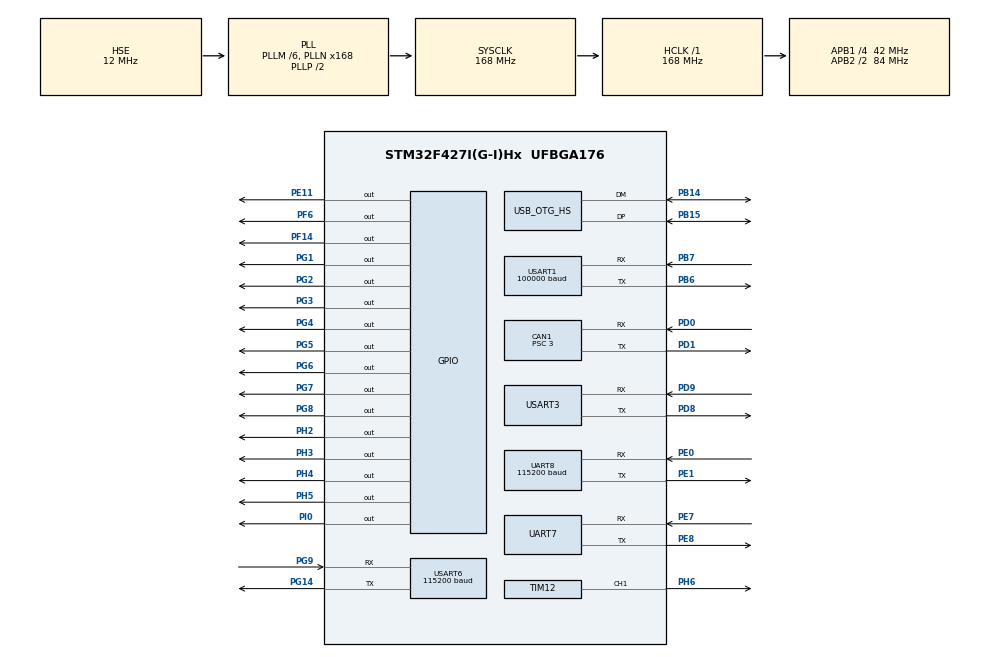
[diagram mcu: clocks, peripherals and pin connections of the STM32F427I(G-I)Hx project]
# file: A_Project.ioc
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CAN1.BS1=CAN_BS1_9TQ
CAN1.BS2=CAN_BS2_4TQ
CAN1.CalculateBaudRate=1000000
CAN1.CalculateTimeBit=1000
CAN1.CalculateTimeQuantum=71.42857142857143
CAN1.Mode=CAN_MODE_NORMAL
CAN1.Prescaler=3
CAN1.SJW=CAN_SJW_2TQ
Dma.Request0=USART1_RX
Dma.Request1=UART8_RX
Dma.Request2=UART8_TX
Dma.Request3=UART7_RX
Dma.Request4=USART6_RX
Dma.Request5=USART6_TX
Dma.UART7_RX.3.Direction=DMA_PERIPH_TO_MEMORY
Dma.UART7_RX.3.FIFOMode=DMA_FIFOMODE_DISABLE
Dma.UART7_RX.3.Instance=DMA1_Stream3
Dma.UART7_RX.3.MemDataAlignment=DMA_MDATAALIGN_BYTE
Dma.UART7_RX.3.MemInc=DMA_MINC_ENABLE
Dma.UART7_RX.3.Mode=DMA_CIRCULAR
Dma.UART7_RX.3.PeriphDataAlignment=DMA_PDATAALIGN_BYTE
Dma.UART7_RX.3.PeriphInc=DMA_PINC_DISABLE
Dma.UART7_RX.3.Priority=DMA_PRIORITY_LOW
Dma.UART8_RX.1.Direction=DMA_PERIPH_TO_MEMORY
Dma.UART8_RX.1.FIFOMode=DMA_FIFOMODE_DISABLE
Dma.UART8_RX.1.Instance=DMA1_Stream6
Dma.UART8_RX.1.MemDataAlignment=DMA_MDATAALIGN_BYTE
Dma.UART8_RX.1.MemInc=DMA_MINC_ENABLE
Dma.UART8_RX.1.Mode=DMA_CIRCULAR
Dma.UART8_RX.1.PeriphDataAlignment=DMA_PDATAALIGN_BYTE
Dma.UART8_RX.1.PeriphInc=DMA_PINC_DISABLE
Dma.UART8_RX.1.Priority=DMA_PRIORITY_LOW
Dma.UART8_TX.2.Direction=DMA_MEMORY_TO_PERIPH
Dma.UART8_TX.2.FIFOMode=DMA_FIFOMODE_DISABLE
Dma.UART8_TX.2.Instance=DMA1_Stream0
Dma.UART8_TX.2.MemDataAlignment=DMA_MDATAALIGN_BYTE
Dma.UART8_TX.2.MemInc=DMA_MINC_ENABLE
Dma.UART8_TX.2.Mode=DMA_NORMAL
Dma.UART8_TX.2.PeriphDataAlignment=DMA_PDATAALIGN_BYTE
Dma.UART8_TX.2.PeriphInc=DMA_PINC_DISABLE
Dma.UART8_TX.2.Priority=DMA_PRIORITY_LOW
Dma.USART1_RX.0.Direction=DMA_PERIPH_TO_MEMORY
Dma.USART1_RX.0.FIFOMode=DMA_FIFOMODE_DISABLE
Dma.USART1_RX.0.Instance=DMA2_Stream2
Dma.USART1_RX.0.MemDataAlignment=DMA_MDATAALIGN_BYTE
Dma.USART1_RX.0.MemInc=DMA_MINC_ENABLE
Dma.USART1_RX.0.Mode=DMA_NORMAL
Dma.USART1_RX.0.PeriphDataAlignment=DMA_PDATAALIGN_BYTE
Dma.USART1_RX.0.PeriphInc=DMA_PINC_DISABLE
Dma.USART1_RX.0.Priority=DMA_PRIORITY_VERY_HIGH
Dma.USART6_RX.4.Direction=DMA_PERIPH_TO_MEMORY
Dma.USART6_RX.4.FIFOMode=DMA_FIFOMODE_DISABLE
Dma.USART6_RX.4.Instance=DMA2_Stream1
Dma.USART6_RX.4.MemDataAlignment=DMA_MDATAALIGN_BYTE
Dma.USART6_RX.4.MemInc=DMA_MINC_ENABLE
Dma.USART6_RX.4.Mode=DMA_CIRCULAR
Dma.USART6_RX.4.PeriphDataAlignment=DMA_PDATAALIGN_BYTE
Dma.USART6_RX.4.PeriphInc=DMA_PINC_DISABLE
Dma.USART6_RX.4.Priority=DMA_PRIORITY_LOW
Dma.USART6_TX.5.Direction=DMA_MEMORY_TO_PERIPH
Dma.USART6_TX.5.FIFOMode=DMA_FIFOMODE_DISABLE
Dma.USART6_TX.5.Instance=DMA2_Stream6
Dma.USART6_TX.5.MemDataAlignment=DMA_MDATAALIGN_BYTE
Dma.USART6_TX.5.MemInc=DMA_MINC_ENABLE
Dma.USART6_TX.5.Mode=DMA_NORMAL
Dma.USART6_TX.5.PeriphDataAlignment=DMA_PDATAALIGN_BYTE
Dma.USART6_TX.5.PeriphInc=DMA_PINC_DISABLE
Dma.USART6_TX.5.Priority=DMA_PRIORITY_LOW
Mcu.Family=STM32F4
Mcu.Name=STM32F427I(G-I)Hx
Mcu.Package=UFBGA176
NVIC.CAN1_RX0_IRQn=true\:0\:0\:false\:false\:true\:true\:true\:true
NVIC.CAN1_RX1_IRQn=true\:0\:0\:false\:false\:true\:true\:true\:true
NVIC.DMA1_Stream0_IRQn=true\:0\:0\:false\:false\:true\:false\:true\:true
NVIC.DMA1_Stream3_IRQn=true\:0\:0\:false\:false\:true\:false\:true\:true
NVIC.DMA1_Stream6_IRQn=true\:0\:0\:false\:false\:true\:false\:true\:true
NVIC.DMA2_Stream1_IRQn=true\:0\:0\:false\:false\:true\:false\:true\:true
NVIC.DMA2_Stream2_IRQn=true\:0\:0\:false\:false\:true\:false\:true\:true
NVIC.DMA2_Stream6_IRQn=true\:0\:0\:false\:false\:true\:false\:true\:true
NVIC.OTG_HS_IRQn=true\:0\:0\:false\:false\:true\:false\:true\:true
NVIC.PriorityGroup=NVIC_PRIORITYGROUP_4
NVIC.TIM6_DAC_IRQn=true\:15\:0\:false\:false\:true\:false\:true\:true
NVIC.TIM8_UP_TIM13_IRQn=true\:0\:0\:false\:false\:true\:true\:true\:true
NVIC.TimeBase=TIM6_DAC_IRQn
NVIC.TimeBaseIP=TIM6
NVIC.UART8_IRQn=true\:0\:0\:false\:false\:true\:true\:true\:true
PA13.Mode=Serial_Wire
PA13.Signal=SYS_JTMS-SWDIO
PA14.Mode=Serial_Wire
PA14.Signal=SYS_JTCK-SWCLK
PB12.Signal=CAN2_RX
PB14.Mode=Device_Only_FS
PB14.Signal=USB_OTG_HS_DM
PB15.Mode=Device_Only_FS
PB15.Signal=USB_OTG_HS_DP
PB6.Mode=Asynchronous
PB6.Signal=USART1_TX
PB7.Mode=Asynchronous
PB7.Signal=USART1_RX
PD0.Mode=CAN_Activate
PD0.Signal=CAN1_RX
PD1.Mode=CAN_Activate
PD1.Signal=CAN1_TX
PD8.Mode=Asynchronous
PD8.Signal=USART3_TX
PD9.Mode=Asynchronous
PD9.Signal=USART3_RX
PE0.Mode=Asynchronous
PE0.Signal=UART8_RX
PE1.Mode=Asynchronous
PE1.Signal=UART8_TX
PE11.Signal=GPIO_Output
PE7.Mode=Asynchronous
PE7.Signal=UART7_RX
PE8.Mode=Asynchronous
PE8.Signal=UART7_TX
PF14.Signal=GPIO_Output
PF6.Signal=GPIO_Output
PF7.Signal=SPI5_SCK
PF9.Signal=SPI5_MOSI
PG1.Signal=GPIO_Output
PG14.Mode=Asynchronous
PG14.Signal=USART6_TX
PG2.Signal=GPIO_Output
PG3.Signal=GPIO_Output
PG4.Signal=GPIO_Output
PG5.Signal=GPIO_Output
PG6.Signal=GPIO_Output
PG7.Signal=GPIO_Output
PG8.Signal=GPIO_Output
PG9.Mode=Asynchronous
PG9.Signal=USART6_RX
PH0/OSC_IN.Mode=HSE-External-Oscillator
PH0/OSC_IN.Signal=RCC_OSC_IN
PH1/OSC_OUT.Mode=HSE-External-Oscillator
PH1/OSC_OUT.Signal=RCC_OSC_OUT
PH2.GPIO_PuPd=GPIO_NOPULL
PH2.PinState=GPIO_PIN_SET
PH2.Signal=GPIO_Output
PH3.PinState=GPIO_PIN_SET
PH3.Signal=GPIO_Output
PH4.PinState=GPIO_PIN_SET
PH4.Signal=GPIO_Output
PH5.PinState=GPIO_PIN_SET
PH5.Signal=GPIO_Output
PH6.Signal=S_TIM12_CH1
PI0.PinState=GPIO_PIN_SET
PI0.Signal=GPIO_Output
ProjectManager.HeapSize=0x1000
ProjectManager.StackSize=0x2000
ProjectManager.TargetToolchain=CMake
RCC.48MHZClocksFreq_Value=48000000
RCC.AHBFreq_Value=168000000
RCC.APB1CLKDivider=RCC_HCLK_DIV4
RCC.APB1Freq_Value=42000000
RCC.APB1TimFreq_Value=84000000
RCC.APB2CLKDivider=RCC_HCLK_DIV2
RCC.APB2Freq_Value=84000000
RCC.APB2TimFreq_Value=168000000
RCC.CortexFreq_Value=168000000
RCC.HCLKFreq_Value=168000000
RCC.HSE_VALUE=12000000
RCC.HSI_VALUE=16000000
RCC.LSE_VALUE=32768
RCC.PLLM=6
RCC.PLLN=168
RCC.PLLQ=7
RCC.SYSCLKFreq_VALUE=168000000
RCC.SYSCLKSource=RCC_SYSCLKSOURCE_PLLCLK
RCC.VCOOutputFreq_Value=336000000
SH.S_TIM12_CH1.0=TIM12_CH1,PWM Generation1 CH1
STMicroelectronics.X-CUBE-ALGOBUILD.1.4.0.LibraryCcDSPOoLibraryJjDSPOoLibrary=true
TIM12.AutoReloadPreload=TIM_AUTORELOAD_PRELOAD_ENABLE
TIM12.Channel-PWM\ Generation1\ CH1=TIM_CHANNEL_1
TIM12.Period=999
TIM12.Prescaler=5
TIM12.Pulse-PWM\ Generation1\ CH1=500
TIM13.AutoReloadPreload=TIM_AUTORELOAD_PRELOAD_ENABLE
TIM13.Period=9
TIM13.Prescaler=8399
UART7.VirtualMode=Asynchronous
UART8.BaudRate=115200
UART8.VirtualMode=Asynchronous
USART1.BaudRate=100000
USART1.Parity=PARITY_EVEN
USART1.StopBits=STOPBITS_2
USART1.VirtualMode=VM_ASYNC
USART1.WordLength=WORDLENGTH_9B
USART3.VirtualMode=VM_ASYNC
USART6.BaudRate=115200
USART6.Mode=MODE_TX_RX
USART6.StopBits=STOPBITS_1
USART6.VirtualMode=VM_ASYNC
USB_DEVICE.CLASS_NAME_HS=CDC
USB_DEVICE.VirtualMode-CDC_HS=Cdc
USB_DEVICE.VirtualModeHS=Cdc_HS
USB_OTG_HS.VirtualMode-Device_Only_FS=Device_Only_FS
VP_STMicroelectronics.X-CUBE-ALGOBUILD_VS_DSPOoLibraryJjLibrary_1.4.0_1.4.0.Mode=DSPOoLibraryJjLibrary
VP_SYS_VS_tim6.Mode=TIM6
VP_TIM12_VS_ClockSourceINT.Mode=Internal
VP_TIM13_VS_ClockSourceINT.Mode=Enable_Timer
VP_USB_DEVICE_VS_USB_DEVICE_CDC_HS.Mode=CDC_HS
board=custom

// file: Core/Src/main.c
/* USER CODE BEGIN Header */
/**
  ******************************************************************************
  * @file           : main.c
  * @brief          : Main program body
  ******************************************************************************
  * @attention
  *
  * Copyright (c) 2026 STMicroelectronics.
  * All rights reserved.
  *
  * This software is licensed under terms that can be found in the LICENSE file
  * in the root directory of this software component.
  * If no LICENSE file comes with this software, it is provided AS-IS.
  *
  ******************************************************************************
  */
/* USER CODE END Header */
#include "main.h"
#include "can.h"
#include "dma.h"
#include "tim.h"
#include "usart.h"
#include "usb_device.h"
#include "gpio.h"

/* USER CODE BEGIN Includes */

#include <tgmath.h>

#include "main2.h"
/* USER CODE END Includes */

/* USER CODE BEGIN PTD */
void TIM8_UP_TIM13_IRQHandler(void);
/* USER CODE END PTD */

void SystemClock_Config(void);
/* USER CODE BEGIN PFP */

int fputc(int c, FILE *stream)
{
    HAL_UART_Transmit(&huart6, (uint8_t *)&c, 1, 0xFFFF);
    return c;
}

/* USER CODE END PFP */

/* USER CODE BEGIN 0 */
extern uint8_t Rdata[8];
extern uint16_t RxID;

extern 	PID_t pid_6020_speed;
extern	PID_t pid_6020_location;
int16_t current6020[4]={0,0,0,0};
int16_t voltage6020[4]={0,0,0,0};

/* USER CODE END 0 */

int main(void)
{

  /* MCU Configuration--------------------------------------------------------*/

  /* Reset of all peripherals, Initializes the Flash interface and the Systick. */
  HAL_Init();

  /* USER CODE BEGIN Init */

	PID_Init(&pid_6020_speed);
	PID_Init(&pid_6020_location);

	pid_6020_speed.Target=200;
	pid_6020_speed.Kp=75;
	pid_6020_speed.Ki=1.9;
	pid_6020_speed.Kd=10;
	pid_6020_speed.IntSep=15;
	pid_6020_speed.IntMax=40000;
	pid_6020_speed.OutMax=25000;
	pid_6020_speed.OutMin=-25000;
	pid_6020_speed.DeadZone=4;
	pid_6020_speed.DifFilter=0.5;
	pid_6020_speed.DifFront=1;

	pid_6020_location.Target=4000;
	pid_6020_location.Kp=0.5;
	pid_6020_location.Ki=0.00;
	pid_6020_location.Kd=0.3;
	pid_6020_location.IntSep=20;
	pid_6020_location.IntMax=20000;
	pid_6020_location.OutMax=200;
	pid_6020_location.OutMin=-200;
	pid_6020_location.DeadZone=10;
	pid_6020_location.DifFilter=0.1;
	pid_6020_location.DifFront=1;

  /* USER CODE END Init */

  /* Configure the system clock */
  SystemClock_Config();

  /* Initialize all configured peripherals */
  MX_GPIO_Init();
  MX_DMA_Init();
  MX_USART1_UART_Init();
  MX_CAN1_Init();
  MX_UART7_Init();
  MX_USART6_UART_Init();
  MX_USART3_UART_Init();
  MX_TIM12_Init();
  MX_UART8_Init();
  MX_USB_DEVICE_Init();
  MX_TIM13_Init();
  /* USER CODE BEGIN 2 */

	HAL_TIM_Base_Start_IT(&htim13);
	HAL_NVIC_EnableIRQ(TIM8_UP_TIM13_IRQn);

	CAN_Filter_FIFO0_AllPass_Init();

	uint8_t tt=0;
	//u6_printf("clear\n");

  /* USER CODE END 2 */

  /* Infinite loop */
  /* USER CODE BEGIN WHILE */

  // ReSharper disable once CppDFAEndlessLoop
  while (1)
  {
    /* USER CODE END WHILE */

    /* USER CODE BEGIN 3 */

	  if(!tt++)HAL_GPIO_TogglePin(GPIOF,GPIO_PIN_14);

  	//CAN_GM6020_Current(current6020);
	if (update) {
		int tar=pid_6020_location.Target;
		int up=tar+50;
		int low=tar-50;
		int out =pid_6020_speed.Out/100;

		int p=pid_6020_location.Error0*pid_6020_location.Kp;
		int i= pid_6020_location.ErrorInt*pid_6020_location.Ki;
		int d=					(1-pid_6020_location.DifFilter)	*(pid_6020_location.Kd * (pid_6020_location.Actual - pid_6020_location.Actual_front))
					+ pid_6020_location.DifFilter		* pid_6020_location.Actual_front;

		u6_printf(
				"ang:%d,"
					"speed:%d ,"
					"target:%d ,"
					"+:%d,"
					"%d,"
					"P%d,"
					"I%d,"
					"D%d \n"

					,ang
					,speed
					,tar
					,up
					,low
					,p
					,i
					,d
				);

		CAN_GM6020_voltage(voltage6020);
		//CAN_GM6020_voltage(current6020);
		update=0;
	}
	HAL_Delay(1);

  }
  /* USER CODE END 3 */
}

void SystemClock_Config(void)
{
  RCC_OscInitTypeDef RCC_OscInitStruct = {0};
  RCC_ClkInitTypeDef RCC_ClkInitStruct = {0};

  /** Configure the main internal regulator output voltage
  */
  __HAL_RCC_PWR_CLK_ENABLE();
  __HAL_PWR_VOLTAGESCALING_CONFIG(PWR_REGULATOR_VOLTAGE_SCALE1);

  /** Initializes the RCC Oscillators according to the specified parameters
  * in the RCC_OscInitTypeDef structure.
  */
  RCC_OscInitStruct.OscillatorType = RCC_OSCILLATORTYPE_HSE;
  RCC_OscInitStruct.HSEState = RCC_HSE_ON;
  RCC_OscInitStruct.PLL.PLLState = RCC_PLL_ON;
  RCC_OscInitStruct.PLL.PLLSource = RCC_PLLSOURCE_HSE;
  RCC_OscInitStruct.PLL.PLLM = 6;
  RCC_OscInitStruct.PLL.PLLN = 168;
  RCC_OscInitStruct.PLL.PLLP = RCC_PLLP_DIV2;
  RCC_OscInitStruct.PLL.PLLQ = 7;
  if (HAL_RCC_OscConfig(&RCC_OscInitStruct) != HAL_OK)
  {
    Error_Handler();
  }

  /** Initializes the CPU, AHB and APB buses clocks
  */
  RCC_ClkInitStruct.ClockType = RCC_CLOCKTYPE_HCLK|RCC_CLOCKTYPE_SYSCLK
                              |RCC_CLOCKTYPE_PCLK1|RCC_CLOCKTYPE_PCLK2;
  RCC_ClkInitStruct.SYSCLKSource = RCC_SYSCLKSOURCE_PLLCLK;
  RCC_ClkInitStruct.AHBCLKDivider = RCC_SYSCLK_DIV1;
  RCC_ClkInitStruct.APB1CLKDivider = RCC_HCLK_DIV4;
  RCC_ClkInitStruct.APB2CLKDivider = RCC_HCLK_DIV2;

  if (HAL_RCC_ClockConfig(&RCC_ClkInitStruct, FLASH_LATENCY_5) != HAL_OK)
  {
    Error_Handler();
  }
}

void HAL_TIM_PeriodElapsedCallback(TIM_HandleTypeDef *htim)
{
  if (htim->Instance == TIM6)
  {
    HAL_IncTick();
  }
}

void Error_Handler(void)
{
  /* USER CODE BEGIN Error_Handler_Debug */
  /* User can add his own implementation to report the HAL error return state */
  __disable_irq();

  // ReSharper disable once CppDFAEndlessLoop
  while (1)
  {
  }
  /* USER CODE END Error_Handler_Debug */
}
